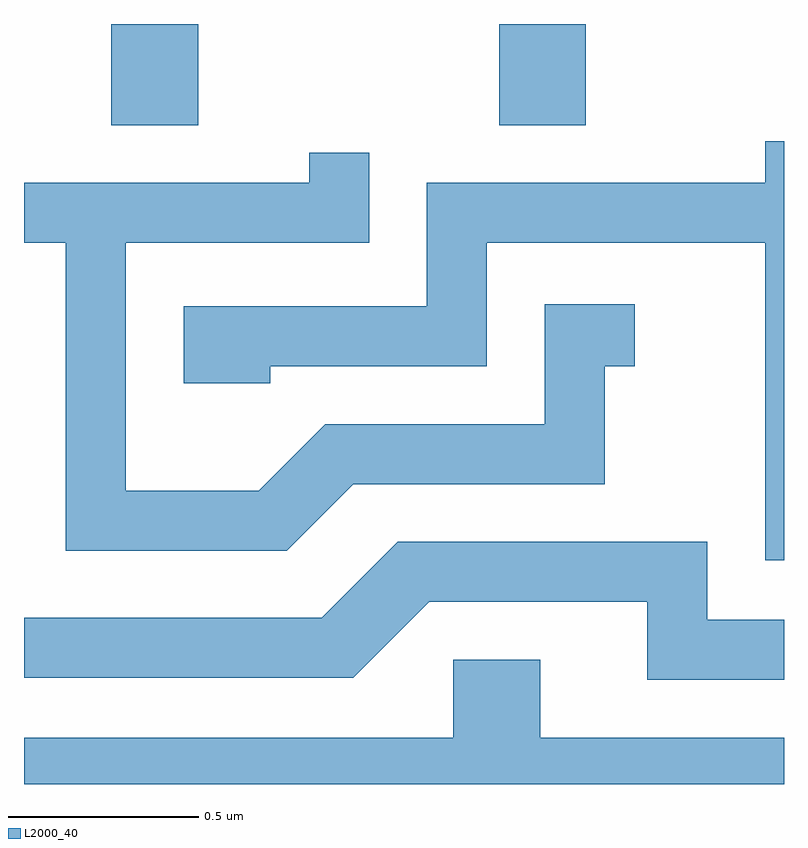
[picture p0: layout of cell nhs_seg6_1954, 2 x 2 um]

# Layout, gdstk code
import gdstk
lib = gdstk.Library(unit=1e-6, precision=1e-09)
def R(c, l, rs):  # rectangles x0, y0, x1, y1
    for r in rs: c.add(gdstk.rectangle(r[:2], r[2:], *l))
def P(c, l, *ps):  # polygons
    for p in ps: c.add(gdstk.Polygon(p, *l))
L2000_40 = (2000, 40)

nhs_seg6_1954 = lib.new_cell('nhs_seg6_1954')
R(nhs_seg6_1954, L2000_40, [(199.841,1571.896,200.069,1572.162), (200.861,1571.896,201.089,1572.162)])
P(nhs_seg6_1954, L2000_40, [(201.611,1571.854),(201.561,1571.854),(201.561,1571.744),(200.671,1571.744),(200.671,1571.419),(200.031,1571.419),(200.031,1571.216),(200.259,1571.216),(200.259,1571.261),(200.829,1571.261),(200.829,1571.586),(201.561,1571.586),(201.561,1570.751),(201.611,1570.751)],
  [(200.477,1570.951),(201.139,1570.951),(201.139,1571.261),(201.218,1571.261),(201.218,1571.424),(200.981,1571.424),(200.981,1571.109),(200.404,1571.109),(200.229,1570.934),(199.879,1570.934),(199.879,1571.586),(200.519,1571.586),(200.519,1571.823),(200.361,1571.823),(200.361,1571.744),(199.611,1571.744),(199.611,1571.586),(199.721,1571.586),(199.721,1570.776),(200.302,1570.776)],
  [(201.611,1570.594),(201.409,1570.594),(201.409,1570.799),(200.594,1570.799),(200.394,1570.599),(199.611,1570.599),(199.611,1570.441),(200.477,1570.441),(200.677,1570.641),(201.251,1570.641),(201.251,1570.436),(201.611,1570.436)],
  [(201.611,1570.284),(200.969,1570.284),(200.969,1570.489),(200.741,1570.489),(200.741,1570.284),(199.611,1570.284),(199.611,1570.162),(201.611,1570.162)])

lib.write_gds('nhs_seg6_1954.gds')
